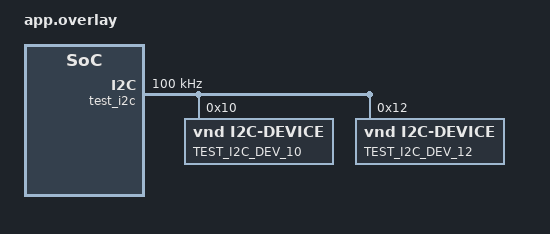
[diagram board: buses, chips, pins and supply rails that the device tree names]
/*
 * Copyright (c) 2021 Intel Corporation
 * Copyright (c) 2020 Nordic Semiconductor ASA
 *
 * SPDX-License-Identifier: Apache-2.0
 *
 * Application overlay for testing device dependencies.
 *
 * Names in this file should be chosen in a way that won't conflict
 * with real-world devicetree nodes, to allow these tests to run on
 * (and be extended to test) real hardware.
 */

/ {
	test {
		#address-cells = <0x1>;
		#size-cells = <0x1>;

		test_i2c: i2c@11112222 {
			#address-cells = <1>;
			#size-cells = <0>;
			compatible = "vnd,i2c";
			status = "okay";
			reg = <0x11112222 0x1000>;
			clock-frequency = <100000>;
			label = "TEST_I2C_CTLR";

			test_dev_a: test-i2c-dev@10 {
				compatible = "vnd,i2c-device";
				status = "okay";
				reg = <0x10>;
				label = "TEST_I2C_DEV_10";
			};

			test_dev_b: test-i2c-dev@12 {
				compatible = "vnd,i2c-device";
				status = "okay";
				reg = <0x12>;
				label = "TEST_I2C_DEV_12";
			};
		};
	};
};
